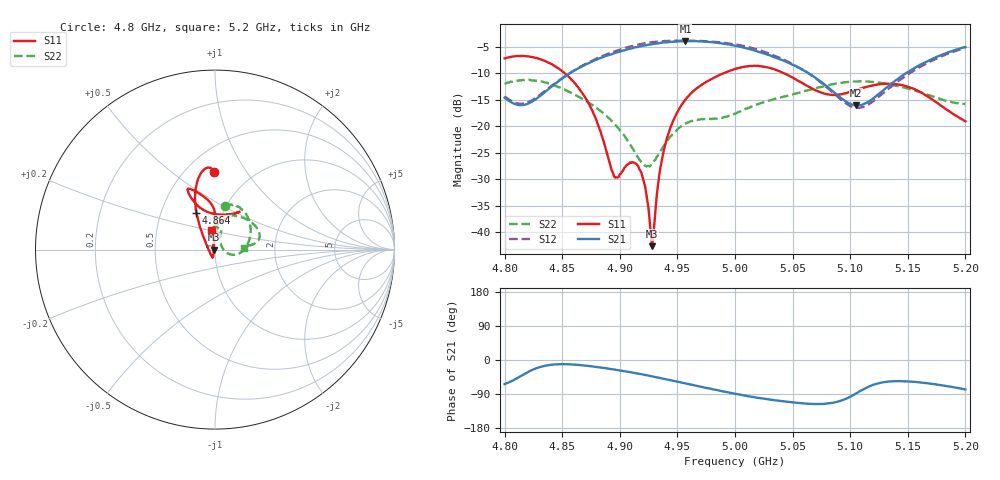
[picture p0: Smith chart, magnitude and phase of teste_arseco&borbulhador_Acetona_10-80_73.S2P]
! Network Analyzer HP8722D
! Hewlett-Packard
! Data name: Linha & Wilkinson
! Saver's name: Rodrigo Anjos
! Comments: Teste da utilização de aquisição
! continua pelo VNA HP8722D
! Time and date: 25/4/2025 15:52
!  Frequency  S11  S21  S12  S22
# HZ  S  MA R 50
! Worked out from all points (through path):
!   401 points, 4.8 GHz to 5.2 GHz, reference 50 ohm
!   highest |S21| = -3.96 dB at 4.957 GHz (marker M1); lowest = -16.1 dB at 5.105 GHz (marker M2)
!   lowest |S11| = -42.6 dB at 4.928 GHz (marker M3), VSWR 1.01, Z = 49.3 - j0.056 ohm
!   |S11| at or under -10 dB: 4.852 GHz to 4.991 GHz (138.5 MHz wide, 2.81 % of centre); 5.042 GHz to end of sweep
!   |S22| runs from -27.6 to -11.3 dB; largest |S21 - S12| = 1.2
!   S11 on the Smith chart (normalised r, x): 4.8 GHz: 0.68, +0.73; 4.864 GHz: 0.75, +0.33; 5.2 GHz: 0.94, +0.21
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4.8e9  0.4346 90.6  0.185 -63.6  0.1904 69.9  0.2504 76.9
4.82e9  0.4532 96.8  0.1619 -32.2  0.1676 98.6  0.2709 61.4
4.843e9  0.3715 106.3  0.2465 -11.8  0.2497 118.8  0.2429 36.6
4.864e9  0.231 116.7  0.3504 -12.8  0.354 120.9  0.1892 11.8
4.867e9  0.208 118.3  0.365 -14.0  0.3692 120.6  0.1822 8.6
4.88e9  0.1109 128.9  0.424 -18.4  0.4348 118.1  0.1479 -5.4
4.895e9  0.03356 -173.2  0.487 -25.2  0.5029 113.5  0.1061 -15.9
4.91e9  0.04504 -106.8  0.5397 -32.6  0.5651 106.9  0.06435 -14.0
4.917e9  0.03927 -103.7  0.5634 -36.7  0.5904 103.4  0.04831 -0.8
4.922e9  0.02681 -108.4  0.5766 -39.5  0.6046 100.6  0.04243 16.7
4.928e9  0.007377 -175.6  0.5909 -43.0  0.6189 96.9  0.04386 41.9
4.93e9  0.01197 127.6  0.5978 -44.4  0.62 95.6  0.04711 49.3
4.934e9  0.03287 100.2  0.6046 -47.0  0.6292 93.0  0.05459 58.3
4.943e9  0.0896 91.1  0.6203 -52.7  0.6366 87.3  0.07732 68.7
4.957e9  0.1779 89.4  0.6336 -61.7  0.6394 78.3  0.1056 71.4
5e9  0.3452 109.0  0.5711 -89.1  0.5918 50.7  0.131 88.3
5.029e9  0.356 114.9  0.4691 -103.7  0.4868 34.1  0.173 85.7
5.067e9  0.2257 104.9  0.2996 -115.9  0.2972 23.6  0.2227 56.9
5.105e9  0.2188 65.2  0.1566 -88.5  0.1486 54.7  0.2632 25.4
5.134e9  0.2505 57.2  0.2418 -56.6  0.2278 88.7  0.2475 12.3
5.171e9  0.1787 71.3  0.4295 -63.0  0.4128 83.9  0.1914 6.8
5.2e9  0.1108 100.6  0.5573 -77.8  0.5455 70.0  0.1614 3.8
